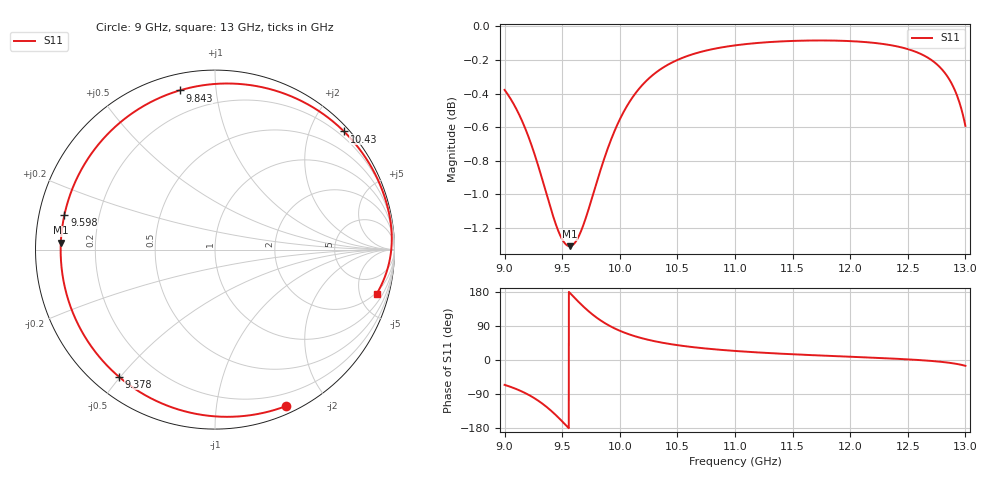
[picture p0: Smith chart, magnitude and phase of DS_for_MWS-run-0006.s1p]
! TOUCHSTONE file generated by CST DESIGN STUDIO
! Date and time: Tue Feb  4 18:23:09 2025
! Project name: C:\Work\MatlabApps\UnitCellOptimizationMatlab\CST\unitcell.cst
! Tree item: Tasks\Sweep1\SPara1\S-Parameters
! Header version: 2024
! Port assignment regex: !\s*Touchstone port\s*([0-9]+)\s*=\s*(CST MWS port|CST DES external port|CST DES block port)\s*(.+)\s* \(\"(.*)\"\)(\s*mode\s*([0-9]+))?.*
! Touchstone port assignment:
! Touchstone port 1 = CST DES external port 1 ("")
# GHz S MA R 50
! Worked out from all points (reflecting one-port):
!   4001 points, 9 GHz to 13 GHz, reference 50 ohm
!   lowest |S11| = -1.3 dB at 9.565 GHz (marker M1), VSWR 13.28, Z = 3.77 + j1.09 ohm
!   phase of S11 starts at -66 deg and turns -310 deg over the sweep
!   S11 on the Smith chart (normalised r, x): 9 GHz: 0.07, -1.55; 9.378 GHz: 0.07, -0.49; 9.598 GHz: 0.08, +0.11; 9.843 GHz: 0.08, +0.80; 10.43 GHz: 0.10, +2.57; 13 GHz: 1.81, -6.98
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9  0.9574 -65.6
9.11  0.9437 -77.7
9.226  0.9233 -94.9
9.306  0.9054 -110.4
9.378  0.8878 -127.2
9.437  0.8745 -143.2
9.5  0.8639 -162.0
9.565  0.8599 177.5
9.598  0.861 167.0
9.654  0.8673 149.8
9.721  0.8802 130.8
9.78  0.8939 116.1
9.843  0.9084 102.5
9.914  0.9233 89.7
10  0.9382 77.2
10.091  0.9503 66.6
10.19  0.9601 57.6
10.302  0.9682 49.6
10.429  0.9746 42.5
10.5  0.9773 39.2
10.721  0.9831 31.1
11  0.9871 23.9
11.5  0.9901 15.1
12  0.99 8.6
12.5  0.9846 1.7
12.798  0.9708 -5.1
12.9  0.9586 -9.1
13  0.934 -15.3
